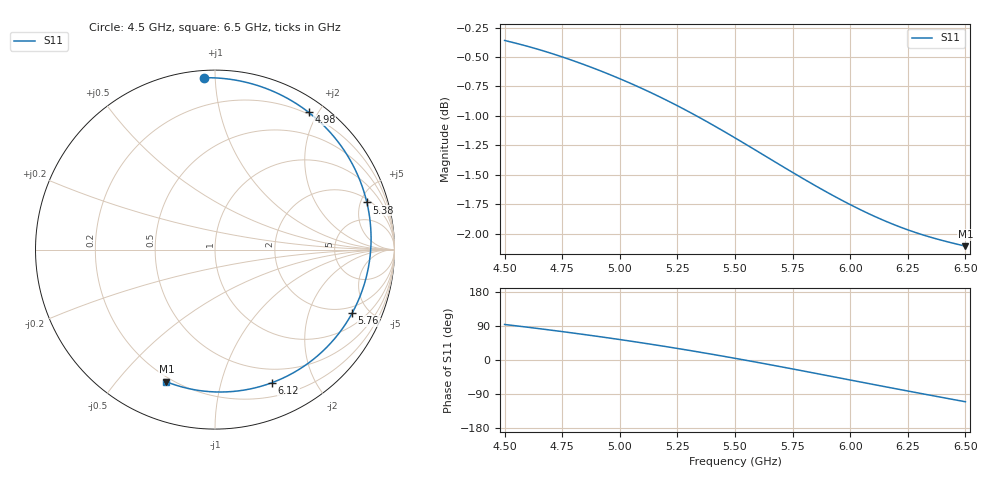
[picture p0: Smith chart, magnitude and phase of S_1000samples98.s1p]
! TOUCHSTONE file generated by CST MICROWAVE STUDIO
! Date and time: Wed Oct 26 23:57:02 2022
! Project name: L.cst
! Parameters = {Di=1.27; Epsilon_r=1.56; InnerDiameter=1.27; Length=2; Lf=10; Lg=60; OuterConductorThickness=0.2921; OuterDiameter=3.6; Wf=3; Wp=41.2; de=1.5; df=6.8; g=0.8; gx=3.78554; gy=3.46471; h=2.34; hf=1.524; px=10.3905; py=11.866; w=9.7; wx=6.60497; wy=8.40129}
! Header version: 2018
! Port assignment regex: !\s*Touchstone port\s*([0-9]+)\s*=\s*(CST MWS port|CST DS port)\s*([0-9]+|Zmin|Zmax)\s*\(\"(.*)\"\)(\s*mode\s*([0-9]+))?.*
! Touchstone port assignment:
! Touchstone port 1 = CST MWS port 1 ("")
# GHz S DB R 50
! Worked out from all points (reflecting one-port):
!   101 points, 4.5 GHz to 6.5 GHz, reference 50 ohm
!   lowest |S11| = -2.1 dB at 6.5 GHz (marker M1), VSWR 8.28, Z = 8.91 - j34.2 ohm
!   phase of S11 starts at 94 deg and turns -204 deg over the sweep
!   S11 on the Smith chart (normalised r, x): 4.5 GHz: 0.04, +0.94; 4.98 GHz: 0.18, +1.88; 5.38 GHz: 2.32, +5.67; 5.76 GHz: 1.62, -3.92; 6.12 GHz: 0.34, -1.46; 6.5 GHz: 0.18, -0.68
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4.5  -0.36 93.8
4.64  -0.43 83.5
4.76  -0.51 74.2
4.88  -0.59 64.3
4.98  -0.67 55.7
5  -0.69 54.0
5.12  -0.79 43.0
5.2  -0.86 35.4
5.26  -0.92 29.5
5.38  -1.05 17.2
5.44  -1.12 10.9
5.5  -1.19 4.5
5.56  -1.26 -2.1
5.62  -1.33 -8.8
5.68  -1.40 -15.6
5.76  -1.49 -24.8
5.82  -1.56 -31.7
5.88  -1.63 -38.7
5.94  -1.69 -45.8
6  -1.75 -52.8
6.06  -1.81 -59.8
6.12  -1.87 -66.8
6.18  -1.92 -73.8
6.26  -1.98 -83.0
6.32  -2.01 -89.8
6.38  -2.05 -96.6
6.44  -2.08 -103.4
6.5  -2.11 -110.2
